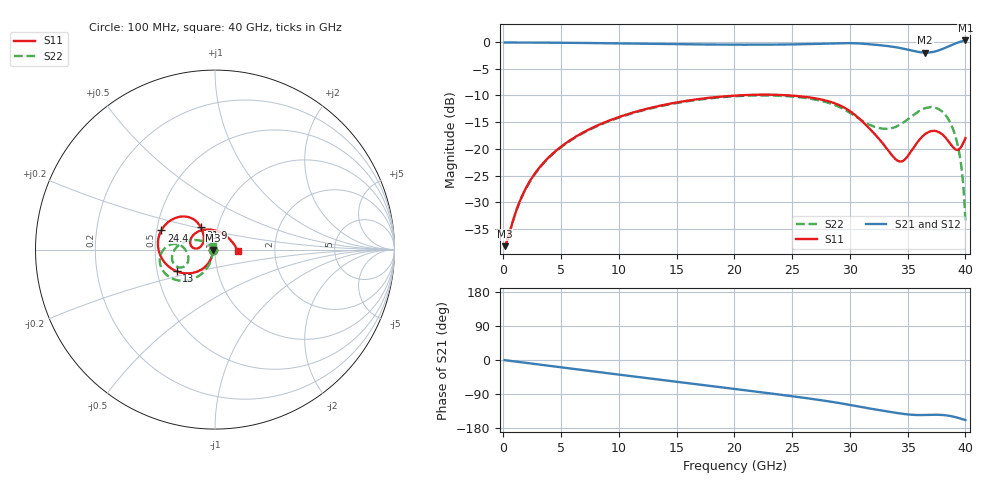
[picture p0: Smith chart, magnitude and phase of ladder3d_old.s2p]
# Hz S RI R 50
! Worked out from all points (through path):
!   400 points, 100 MHz to 40 GHz, reference 50 ohm
!   highest |S21| = 0.28 dB at 40 GHz (marker M1); lowest = -2.0 dB at 36.5 GHz (marker M2)
!   group delay of S21, straight-line fit = 11 ps
!   lowest |S11| = -38.2 dB at 100 MHz (marker M3), VSWR 1.02, Z = 48.8 - j0.198 ohm
!   |S11| at or under -10 dB: start of sweep to 20.36 GHz; 24.74 GHz to end of sweep
!   |S22| runs from -38.2 to -10.0 dB; largest |S21 - S12| = 0
!   S11 on the Smith chart (normalised r, x): 100 MHz: 0.98, -0.00; 13 GHz: 0.63, -0.16; 24.4 GHz: 0.53, +0.13; 31.9 GHz: 0.83, +0.21; 40 GHz: 1.29, -0.01
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1e8  -0.0121 -0.00203  0.9879 -0.00671  0.9879 -0.00671  -0.0121 -0.00203
1.4e9  -0.0153 -0.0282  0.983 -0.0937  0.983 -0.0937  -0.0144 -0.0283
2.6e9  -0.023 -0.0514  0.9712 -0.1731  0.9712 -0.1731  -0.0198 -0.0519
4.4e9  -0.0426 -0.0827  0.9405 -0.289  0.9405 -0.289  -0.0338 -0.0854
6.8e9  -0.0814 -0.1144  0.877 -0.4344  0.877 -0.4344  -0.0623 -0.1238
1.3e10  -0.2134 -0.121  0.6173 -0.7348  0.6173 -0.7348  -0.169 -0.1736
1.34e10  -0.2218 -0.1174  0.5969 -0.7498  0.5969 -0.7498  -0.1766 -0.1739
2.01e10  -0.3151 0.0016  0.2179 -0.9174  0.2179 -0.9174  -0.2842 -0.1253
2.44e10  -0.2994 0.1064  -0.0528 -0.9451  -0.0528 -0.9451  -0.3073 -0.0524
2.67e10  -0.2568 0.1561  -0.2091 -0.9332  -0.2091 -0.9332  -0.2926 -0.00828
2.95e10  -0.16 0.1835  -0.4244 -0.8766  -0.4244 -0.8766  -0.2319 0.0312
3.19e10  -0.0791 0.1237  -0.5964 -0.7367  -0.5964 -0.7367  -0.1644 -0.00206
3.34e10  -0.0624 0.0704  -0.6622 -0.6262  -0.6622 -0.6262  -0.1486 -0.0423
3.45e10  -0.0709 0.0283  -0.6836 -0.5394  -0.6836 -0.5394  -0.1546 -0.0767
3.65e10  -0.1351 0.024  -0.6515 -0.454  -0.6515 -0.454  -0.2231 -0.0877
3.8e10  -0.091 0.1021  -0.7032 -0.4918  -0.7032 -0.4918  -0.2229 0.00311
3.9e10  0.0204 0.1  -0.8244 -0.4812  -0.8244 -0.4812  -0.1365 0.0521
3.93e10  0.0572 0.0792  -0.8677 -0.4604  -0.8677 -0.4604  -0.0993 0.0528
3.96e10  0.0907 0.0487  -0.9103 -0.4302  -0.9103 -0.4302  -0.0602 0.0446
3.98e10  0.11 0.0234  -0.9371 -0.405  -0.9371 -0.405  -0.0341 0.0339
3.99e10  0.1182 0.00942  -0.9495 -0.3908  -0.9495 -0.3908  -0.0215 0.0267
4e10  0.126 -0.00514  -0.9617 -0.376  -0.9617 -0.376  -0.00891 0.019
